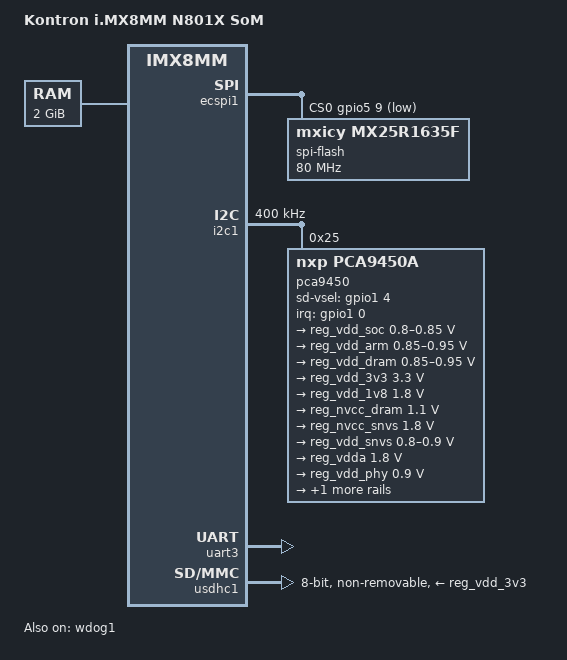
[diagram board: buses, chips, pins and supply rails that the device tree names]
// SPDX-License-Identifier: GPL-2.0+ OR MIT
/*
 * Copyright (C) 2019 Kontron Electronics GmbH
 */

#include "imx8mm.dtsi"

/ {
	model = "Kontron i.MX8MM N801X SoM";
	compatible = "kontron,imx8mm-n801x-som", "fsl,imx8mm";

	memory@40000000 {
		device_type = "memory";
		/*
		 * There are multiple SoM flavors with different DDR sizes.
		 * The smallest is 1GB. For larger sizes the bootloader will
		 * update the reg property.
		 */
		reg = <0x0 0x40000000 0 0x80000000>;
	};

	chosen {
		stdout-path = &uart3;
	};
};

&A53_0 {
	cpu-supply = <&reg_vdd_arm>;
};

&A53_1 {
	cpu-supply = <&reg_vdd_arm>;
};

&A53_2 {
	cpu-supply = <&reg_vdd_arm>;
};

&A53_3 {
	cpu-supply = <&reg_vdd_arm>;
};

&ddrc {
	operating-points-v2 = <&ddrc_opp_table>;

	ddrc_opp_table: opp-table {
		compatible = "operating-points-v2";

		opp-25M {
			opp-hz = /bits/ 64 <25000000>;
		};

		opp-100M {
			opp-hz = /bits/ 64 <100000000>;
		};

		opp-750M {
			opp-hz = /bits/ 64 <750000000>;
		};
	};
};

&ecspi1 {
	pinctrl-names = "default";
	pinctrl-0 = <&pinctrl_ecspi1>;
	cs-gpios = <&gpio5 9 GPIO_ACTIVE_LOW>;
	status = "okay";

	spi-flash@0 {
		compatible = "mxicy,mx25r1635f", "jedec,spi-nor";
		spi-max-frequency = <80000000>;
		reg = <0>;
	};
};

&i2c1 {
	clock-frequency = <400000>;
	pinctrl-names = "default";
	pinctrl-0 = <&pinctrl_i2c1>;
	status = "okay";

	pca9450: pmic@25 {
		compatible = "nxp,pca9450a";
		reg = <0x25>;
		pinctrl-names = "default";
		pinctrl-0 = <&pinctrl_pmic>;
		interrupt-parent = <&gpio1>;
		interrupts = <0 IRQ_TYPE_LEVEL_LOW>;
		sd-vsel-gpios = <&gpio1 4 GPIO_ACTIVE_HIGH>;

		regulators {
			reg_vdd_soc: BUCK1 {
				regulator-name = "buck1";
				regulator-min-microvolt = <800000>;
				regulator-max-microvolt = <850000>;
				regulator-boot-on;
				regulator-always-on;
				regulator-ramp-delay = <3125>;
				nxp,dvs-run-voltage = <850000>;
				nxp,dvs-standby-voltage = <800000>;
			};

			reg_vdd_arm: BUCK2 {
				regulator-name = "buck2";
				regulator-min-microvolt = <850000>;
				regulator-max-microvolt = <950000>;
				regulator-boot-on;
				regulator-always-on;
				regulator-ramp-delay = <3125>;
				nxp,dvs-run-voltage = <950000>;
				nxp,dvs-standby-voltage = <850000>;
			};

			reg_vdd_dram: BUCK3 {
				regulator-name = "buck3";
				regulator-min-microvolt = <850000>;
				regulator-max-microvolt = <950000>;
				regulator-boot-on;
				regulator-always-on;
			};

			reg_vdd_3v3: BUCK4 {
				regulator-name = "buck4";
				regulator-min-microvolt = <3300000>;
				regulator-max-microvolt = <3300000>;
				regulator-boot-on;
				regulator-always-on;
			};

			reg_vdd_1v8: BUCK5 {
				regulator-name = "buck5";
				regulator-min-microvolt = <1800000>;
				regulator-max-microvolt = <1800000>;
				regulator-boot-on;
				regulator-always-on;
			};

			reg_nvcc_dram: BUCK6 {
				regulator-name = "buck6";
				regulator-min-microvolt = <1100000>;
				regulator-max-microvolt = <1100000>;
				regulator-boot-on;
				regulator-always-on;
			};

			reg_nvcc_snvs: LDO1 {
				regulator-name = "ldo1";
				regulator-min-microvolt = <1800000>;
				regulator-max-microvolt = <1800000>;
				regulator-boot-on;
				regulator-always-on;
			};

			reg_vdd_snvs: LDO2 {
				regulator-name = "ldo2";
				regulator-min-microvolt = <800000>;
				regulator-max-microvolt = <900000>;
				regulator-boot-on;
				regulator-always-on;
			};

			reg_vdda: LDO3 {
				regulator-name = "ldo3";
				regulator-min-microvolt = <1800000>;
				regulator-max-microvolt = <1800000>;
				regulator-boot-on;
				regulator-always-on;
			};

			reg_vdd_phy: LDO4 {
				regulator-name = "ldo4";
				regulator-min-microvolt = <900000>;
				regulator-max-microvolt = <900000>;
				regulator-boot-on;
				regulator-always-on;
			};

			reg_nvcc_sd: LDO5 {
				regulator-name = "ldo5";
				regulator-min-microvolt = <1800000>;
				regulator-max-microvolt = <3300000>;
			};
		};
	};
};

&uart3 { /* console */
	pinctrl-names = "default";
	pinctrl-0 = <&pinctrl_uart3>;
	status = "okay";
};

&usdhc1 {
	pinctrl-names = "default", "state_100mhz", "state_200mhz";
	pinctrl-0 = <&pinctrl_usdhc1>;
	pinctrl-1 = <&pinctrl_usdhc1_100mhz>;
	pinctrl-2 = <&pinctrl_usdhc1_200mhz>;
	vmmc-supply = <&reg_vdd_3v3>;
	vqmmc-supply = <&reg_vdd_1v8>;
	bus-width = <8>;
	non-removable;
	status = "okay";
};

&wdog1 {
	pinctrl-names = "default";
	pinctrl-0 = <&pinctrl_wdog>;
	fsl,ext-reset-output;
	status = "okay";
};

&iomuxc {
	pinctrl_ecspi1: ecspi1grp {
		fsl,pins = <
			MX8MM_IOMUXC_ECSPI1_MISO_ECSPI1_MISO		0x82
			MX8MM_IOMUXC_ECSPI1_MOSI_ECSPI1_MOSI		0x82
			MX8MM_IOMUXC_ECSPI1_SCLK_ECSPI1_SCLK		0x82
			MX8MM_IOMUXC_ECSPI1_SS0_GPIO5_IO9		0x19
		>;
	};

	pinctrl_i2c1: i2c1grp {
		fsl,pins = <
			MX8MM_IOMUXC_I2C1_SCL_I2C1_SCL			0x400001c3
			MX8MM_IOMUXC_I2C1_SDA_I2C1_SDA			0x400001c3
		>;
	};

	pinctrl_pmic: pmicgrp {
		fsl,pins = <
			MX8MM_IOMUXC_GPIO1_IO00_GPIO1_IO0		0x141
			MX8MM_IOMUXC_GPIO1_IO04_GPIO1_IO4		0x141
		>;
	};

	pinctrl_uart3: uart3grp {
		fsl,pins = <
			MX8MM_IOMUXC_UART3_RXD_UART3_DCE_RX		0x140
			MX8MM_IOMUXC_UART3_TXD_UART3_DCE_TX		0x140
		>;
	};

	pinctrl_usdhc1: usdhc1grp {
		fsl,pins = <
			MX8MM_IOMUXC_SD1_CLK_USDHC1_CLK			0x190
			MX8MM_IOMUXC_SD1_CMD_USDHC1_CMD			0x1d0
			MX8MM_IOMUXC_SD1_DATA0_USDHC1_DATA0		0x1d0
			MX8MM_IOMUXC_SD1_DATA1_USDHC1_DATA1		0x1d0
			MX8MM_IOMUXC_SD1_DATA2_USDHC1_DATA2		0x1d0
			MX8MM_IOMUXC_SD1_DATA3_USDHC1_DATA3		0x1d0
			MX8MM_IOMUXC_SD1_DATA4_USDHC1_DATA4		0x1d0
			MX8MM_IOMUXC_SD1_DATA5_USDHC1_DATA5		0x1d0
			MX8MM_IOMUXC_SD1_DATA6_USDHC1_DATA6		0x1d0
			MX8MM_IOMUXC_SD1_DATA7_USDHC1_DATA7		0x1d0
			MX8MM_IOMUXC_SD1_RESET_B_USDHC1_RESET_B		0x019
			MX8MM_IOMUXC_SD1_STROBE_USDHC1_STROBE		0x190
		>;
	};

	pinctrl_usdhc1_100mhz: usdhc1-100mhzgrp {
		fsl,pins = <
			MX8MM_IOMUXC_SD1_CLK_USDHC1_CLK			0x194
			MX8MM_IOMUXC_SD1_CMD_USDHC1_CMD			0x1d4
			MX8MM_IOMUXC_SD1_DATA0_USDHC1_DATA0		0x1d4
			MX8MM_IOMUXC_SD1_DATA1_USDHC1_DATA1		0x1d4
			MX8MM_IOMUXC_SD1_DATA2_USDHC1_DATA2		0x1d4
			MX8MM_IOMUXC_SD1_DATA3_USDHC1_DATA3		0x1d4
			MX8MM_IOMUXC_SD1_DATA4_USDHC1_DATA4		0x1d4
			MX8MM_IOMUXC_SD1_DATA5_USDHC1_DATA5		0x1d4
			MX8MM_IOMUXC_SD1_DATA6_USDHC1_DATA6		0x1d4
			MX8MM_IOMUXC_SD1_DATA7_USDHC1_DATA7		0x1d4
			MX8MM_IOMUXC_SD1_RESET_B_USDHC1_RESET_B		0x019
			MX8MM_IOMUXC_SD1_STROBE_USDHC1_STROBE		0x194
		>;
	};

	pinctrl_usdhc1_200mhz: usdhc1-200mhzgrp {
		fsl,pins = <
			MX8MM_IOMUXC_SD1_CLK_USDHC1_CLK			0x196
			MX8MM_IOMUXC_SD1_CMD_USDHC1_CMD			0x1d6
			MX8MM_IOMUXC_SD1_DATA0_USDHC1_DATA0		0x1d6
			MX8MM_IOMUXC_SD1_DATA1_USDHC1_DATA1		0x1d6
			MX8MM_IOMUXC_SD1_DATA2_USDHC1_DATA2		0x1d6
			MX8MM_IOMUXC_SD1_DATA3_USDHC1_DATA3		0x1d6
			MX8MM_IOMUXC_SD1_DATA4_USDHC1_DATA4		0x1d6
			MX8MM_IOMUXC_SD1_DATA5_USDHC1_DATA5		0x1d6
			MX8MM_IOMUXC_SD1_DATA6_USDHC1_DATA6		0x1d6
			MX8MM_IOMUXC_SD1_DATA7_USDHC1_DATA7		0x1d6
			MX8MM_IOMUXC_SD1_RESET_B_USDHC1_RESET_B		0x019
			MX8MM_IOMUXC_SD1_STROBE_USDHC1_STROBE		0x196
		>;
	};

	pinctrl_wdog: wdoggrp {
		fsl,pins = <
			MX8MM_IOMUXC_GPIO1_IO02_WDOG1_WDOG_B		0xc6
		>;
	};
};
